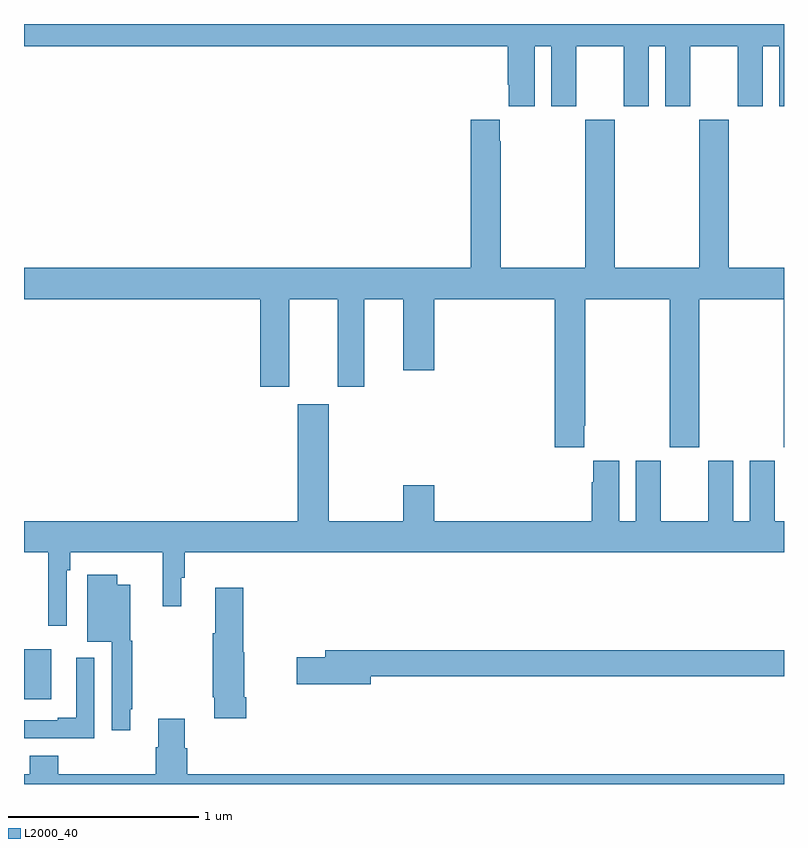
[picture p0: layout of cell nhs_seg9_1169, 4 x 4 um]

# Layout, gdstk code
import gdstk
lib = gdstk.Library(unit=1e-6, precision=1e-09)
def R(c, l, rs):  # rectangles x0, y0, x1, y1
    for r in rs: c.add(gdstk.rectangle(r[:2], r[2:], *l))
def P(c, l, *ps):  # polygons
    for p in ps: c.add(gdstk.Polygon(p, *l))
L2000_40 = (2000, 40)

nhs_seg9_1169 = lib.new_cell('nhs_seg9_1169')
R(nhs_seg9_1169, L2000_40, [(175,1228.946,175.144,1229.209)])
P(nhs_seg9_1169, L2000_40, [(177.688,1232.384),(177.776,1232.384),(177.776,1232.067),(177.907,1232.067),(177.907,1232.384),(178.157,1232.384),(178.157,1232.067),(178.288,1232.067),(178.288,1232.384),(178.376,1232.384),(178.376,1232.067),(178.507,1232.067),(178.507,1232.384),(178.757,1232.384),(178.757,1232.067),(178.888,1232.067),(178.888,1232.384),(178.976,1232.384),(178.976,1232.067),(179,1232.067),(179,1232.5),(175,1232.5),(175,1232.384),(177.545,1232.384),(177.545,1232.179),(177.551,1232.179),(177.551,1232.067),(177.688,1232.067)],
  [(177.949,1230.385),(177.954,1230.385),(177.954,1231.052),(178.399,1231.052),(178.399,1230.273),(178.554,1230.273),(178.554,1231.052),(178.999,1231.052),(178.999,1230.273),(179,1230.273),(179,1231.216),(178.71,1231.216),(178.71,1231.996),(178.555,1231.996),(178.555,1231.216),(178.11,1231.216),(178.11,1231.996),(177.955,1231.996),(177.955,1231.216),(177.51,1231.216),(177.51,1231.883),(177.505,1231.883),(177.505,1231.996),(177.35,1231.996),(177.35,1231.216),(175,1231.216),(175,1231.052),(176.243,1231.052),(176.243,1230.591),(176.395,1230.591),(176.395,1231.052),(176.651,1231.052),(176.651,1230.591),(176.791,1230.591),(176.791,1231.052),(176.996,1231.052),(176.996,1230.678),(177.16,1230.678),(177.16,1231.052),(177.794,1231.052),(177.794,1230.273),(177.949,1230.273)],
  [(175.224,1229.624),(175.244,1229.624),(175.244,1229.72),(175.729,1229.72),(175.729,1229.436),(175.828,1229.436),(175.828,1229.586),(175.847,1229.586),(175.847,1229.72),(179,1229.72),(179,1229.884),(178.951,1229.884),(178.951,1230.202),(178.82,1230.202),(178.82,1229.884),(178.732,1229.884),(178.732,1230.202),(178.601,1230.202),(178.601,1229.884),(178.351,1229.884),(178.351,1230.202),(178.22,1230.202),(178.22,1229.884),(178.132,1229.884),(178.132,1230.202),(177.995,1230.202),(177.995,1230.089),(177.989,1230.089),(177.989,1229.884),(177.16,1229.884),(177.16,1230.073),(176.996,1230.073),(176.996,1229.884),(176.605,1229.884),(176.605,1230.499),(176.441,1230.499),(176.441,1229.884),(175,1229.884),(175,1229.72),(175.127,1229.72),(175.127,1229.334),(175.224,1229.334)],
  [(175.558,1228.894),(175.57,1228.894),(175.57,1229.253),(175.558,1229.253),(175.558,1229.548),(175.492,1229.548),(175.492,1229.602),(175.334,1229.602),(175.334,1229.249),(175.461,1229.249),(175.461,1228.782),(175.558,1228.782)],
  [(176.171,1228.957),(176.158,1228.957),(176.158,1229.193),(176.153,1229.193),(176.153,1229.533),(176.006,1229.533),(176.006,1229.293),(175.993,1229.293),(175.993,1228.957),(176,1228.957),(176,1228.845),(176.171,1228.845)],
  [(176.824,1229.068),(179,1229.068),(179,1229.204),(176.585,1229.204),(176.585,1229.168),(176.436,1229.168),(176.436,1229.026),(176.824,1229.026)],
  [(175.371,1229.164),(175.274,1229.164),(175.274,1228.849),(175.178,1228.849),(175.178,1228.836),(175,1228.836),(175,1228.74),(175.371,1228.74)],
  [(179,1228.552),(175.859,1228.552),(175.859,1228.689),(175.846,1228.689),(175.846,1228.843),(175.706,1228.843),(175.706,1228.694),(175.694,1228.694),(175.694,1228.552),(175.181,1228.552),(175.181,1228.65),(175.029,1228.65),(175.029,1228.552),(175,1228.552),(175,1228.5),(179,1228.5)])

lib.write_gds('nhs_seg9_1169.gds')
